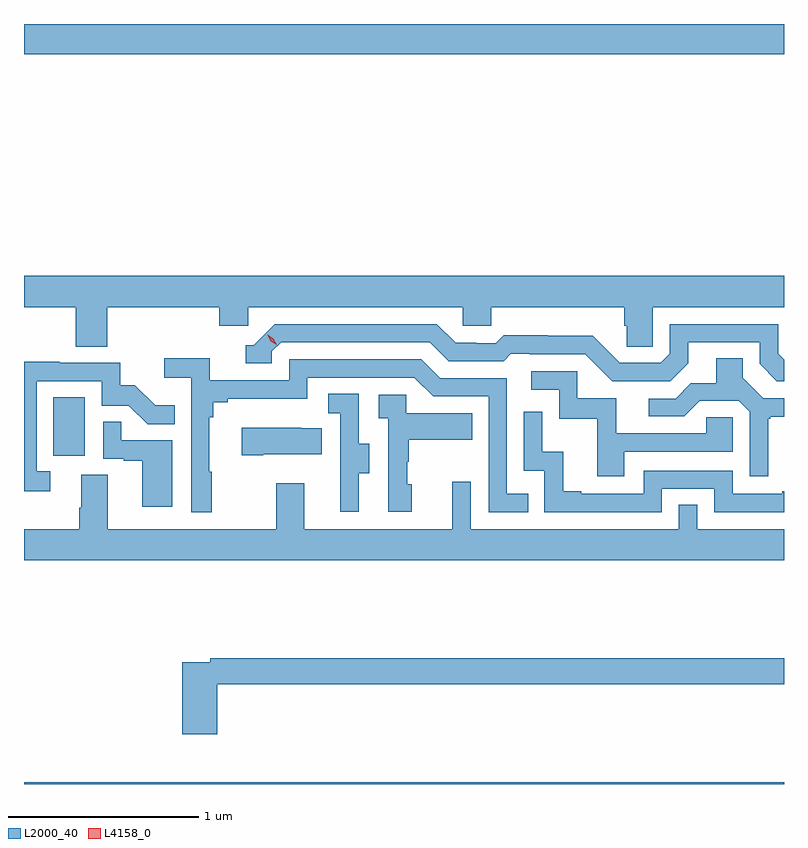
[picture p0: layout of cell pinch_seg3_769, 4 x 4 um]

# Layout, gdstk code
import gdstk
lib = gdstk.Library(unit=1e-6, precision=1e-09)
def R(c, l, rs):  # rectangles x0, y0, x1, y1
    for r in rs: c.add(gdstk.rectangle(r[:2], r[2:], *l))
def P(c, l, *ps):  # polygons
    for p in ps: c.add(gdstk.Polygon(p, *l))
L2000_40 = (2000, 40)
L4158_0 = (4158, 0)

pinch_seg3_769 = lib.new_cell('pinch_seg3_769')
R(pinch_seg3_769, L2000_40, [(812.739,738.366,816.739,738.376), (812.894,740.094,813.058,740.401), (812.739,742.208,816.739,742.366)])
P(pinch_seg3_769, L2000_40, [(813.176,740.876),(813.767,740.876),(813.767,740.778),(813.918,740.778),(813.918,740.876),(815.049,740.876),(815.049,740.778),(815.199,740.778),(815.199,740.876),(815.897,740.876),(815.897,740.778),(815.911,740.778),(815.911,740.668),(816.048,740.668),(816.048,740.876),(816.739,740.876),(816.739,741.04),(812.739,741.04),(812.739,740.876),(813.011,740.876),(813.011,740.668),(813.176,740.668)],
  [(816.235,740.581),(816.235,740.691),(816.612,740.691),(816.612,740.577),(816.702,740.487),(816.739,740.487),(816.739,740.6),(816.708,740.631),(816.708,740.787),(816.138,740.787),(816.138,740.631),(816.09,740.583),(815.874,740.583),(815.732,740.725),(815.496,740.725),(815.496,740.728),(815.263,740.728),(815.221,740.685),(815.118,740.685),(815.118,740.688),(815.011,740.688),(814.912,740.787),(814.059,740.787),(813.948,740.676),(813.905,740.676),(813.905,740.58),(814.044,740.58),(814.044,740.643),(814.092,740.691),(814.875,740.691),(814.974,740.592),(815.263,740.592),(815.302,740.631),(815.401,740.631),(815.401,740.628),(815.694,740.628),(815.835,740.487),(816.141,740.487)],
  [(816.655,740.289),(816.667,740.289),(816.667,740.3),(816.739,740.3),(816.739,740.397),(816.63,740.397),(816.523,740.504),(816.523,740.606),(816.383,740.606),(816.383,740.474),(816.248,740.474),(816.168,740.394),(816.027,740.394),(816.027,740.301),(816.214,740.301),(816.295,740.382),(816.501,740.382),(816.558,740.325),(816.558,739.986),(816.655,739.986)],
  [(813.727,740.009),(813.715,740.009),(813.715,740.297),(813.734,740.297),(813.734,740.374),(813.811,740.374),(813.811,740.393),(814.23,740.393),(814.23,740.505),(814.794,740.505),(814.893,740.406),(815.184,740.406),(815.184,739.797),(815.393,739.797),(815.393,739.893),(815.28,739.893),(815.28,740.502),(814.93,740.502),(814.831,740.601),(814.134,740.601),(814.134,740.49),(813.716,740.49),(813.716,740.606),(813.477,740.606),(813.477,740.504),(813.618,740.504),(813.618,739.797),(813.727,739.797)],
  [(812.878,740.013),(812.805,740.013),(812.805,740.487),(813.147,740.487),(813.147,740.358),(813.291,740.358),(813.389,740.26),(813.533,740.26),(813.533,740.359),(813.429,740.359),(813.322,740.466),(813.246,740.466),(813.246,740.583),(812.927,740.583),(812.927,740.588),(812.739,740.588),(812.739,739.908),(812.878,739.908)],
  [(815.899,740.115),(816.468,740.115),(816.468,740.295),(816.331,740.295),(816.331,740.211),(815.857,740.211),(815.857,740.397),(815.652,740.397),(815.652,740.538),(815.409,740.538),(815.409,740.442),(815.556,740.442),(815.556,740.289),(815.755,740.289),(815.755,739.986),(815.899,739.986)],
  [(814.501,740.002),(814.555,740.002),(814.555,740.157),(814.5,740.157),(814.5,740.42),(814.341,740.42),(814.341,740.317),(814.404,740.317),(814.404,740.013),(814.403,740.013),(814.403,739.8),(814.501,739.8)],
  [(814.78,739.944),(814.755,739.944),(814.755,740.063),(814.765,740.063),(814.765,740.177),(815.099,740.177),(815.099,740.317),(814.752,740.317),(814.752,740.415),(814.605,740.415),(814.605,740.291),(814.656,740.291),(814.656,739.8),(814.78,739.8)],
  [(816.096,739.92),(816.372,739.92),(816.372,739.797),(816.739,739.797),(816.739,739.906),(816.731,739.906),(816.731,739.893),(816.468,739.893),(816.468,740.016),(816,740.016),(816,739.893),(815.671,739.893),(815.671,739.906),(815.576,739.906),(815.576,740.114),(815.466,740.114),(815.466,740.326),(815.37,740.326),(815.37,740.016),(815.478,740.016),(815.478,739.797),(816.096,739.797)],
  [(813.52,740.175),(813.251,740.175),(813.251,740.273),(813.156,740.273),(813.156,740.079),(813.263,740.079),(813.263,740.067),(813.362,740.067),(813.362,739.824),(813.52,739.824)],
  [(813.997,740.102),(814.307,740.102),(814.307,740.239),(814.199,740.239),(814.199,740.242),(813.885,740.242),(813.885,740.095),(813.997,740.095)],
  [(814.066,739.948),(814.066,739.708),(813.181,739.708),(813.181,739.994),(813.041,739.994),(813.041,739.82),(813.029,739.82),(813.029,739.708),(812.739,739.708),(812.739,739.544),(816.739,739.544),(816.739,739.708),(816.282,739.708),(816.282,739.835),(816.186,739.835),(816.186,739.708),(815.091,739.708),(815.091,739.957),(814.994,739.957),(814.994,739.708),(814.213,739.708),(814.213,739.948)],
  [(813.755,738.892),(816.739,738.892),(816.739,739.028),(813.718,739.028),(813.718,739.008),(813.572,739.008),(813.572,738.627),(813.755,738.627)])
P(pinch_seg3_769, L4158_0, [(814.068,740.677),(814.037,740.697),(814.021,740.73),(814.021,740.73),(814.022,740.73),(814.052,740.71),(814.068,740.677),(814.068,740.677)])

lib.write_gds('pinch_seg3_769.gds')
